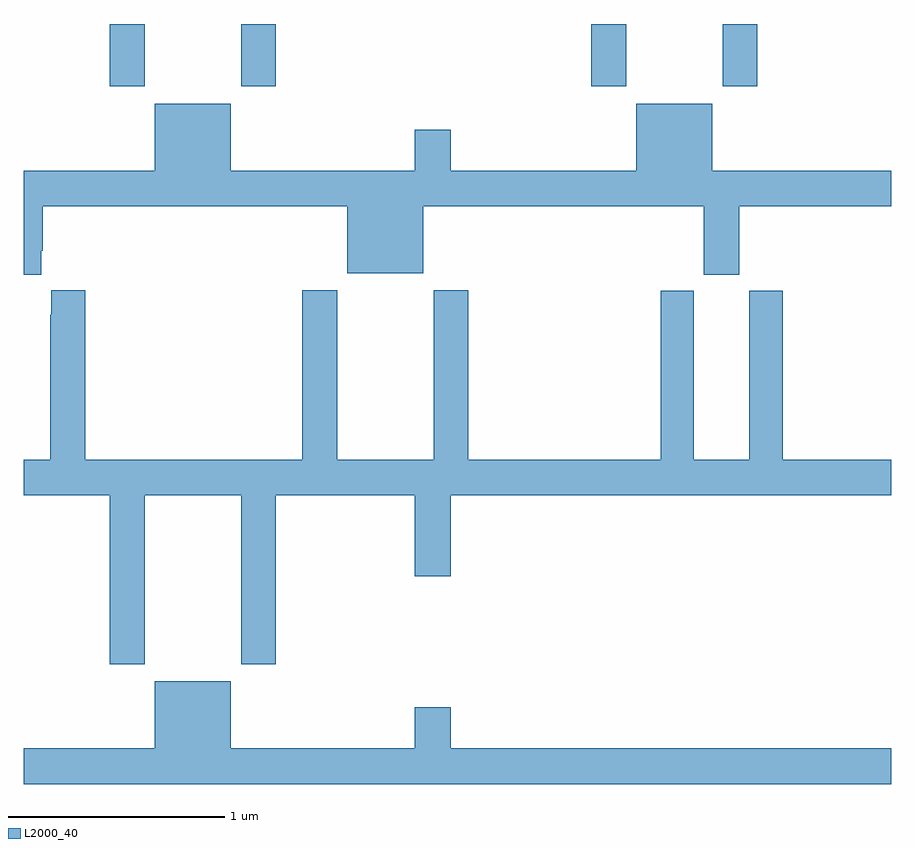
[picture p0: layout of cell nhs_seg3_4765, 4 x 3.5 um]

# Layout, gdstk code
import gdstk
lib = gdstk.Library(unit=1e-6, precision=1e-09)
def R(c, l, rs):  # rectangles x0, y0, x1, y1
    for r in rs: c.add(gdstk.rectangle(r[:2], r[2:], *l))
def P(c, l, *ps):  # polygons
    for p in ps: c.add(gdstk.Polygon(p, *l))
L2000_40 = (2000, 40)

nhs_seg3_4765 = lib.new_cell('nhs_seg3_4765')
R(nhs_seg3_4765, L2000_40, [(367.397,724.113,367.557,724.4), (368.002,724.113,368.162,724.4), (369.617,724.113,369.777,724.4), (370.222,724.113,370.382,724.4)])
P(nhs_seg3_4765, L2000_40, [(367.081,723.355),(367.088,723.355),(367.088,723.56),(368.492,723.56),(368.492,723.251),(368.842,723.251),(368.842,723.56),(370.136,723.56),(370.136,723.243),(370.3,723.243),(370.3,723.56),(371,723.56),(371,723.724),(370.174,723.724),(370.174,724.033),(369.824,724.033),(369.824,723.724),(368.968,723.724),(368.968,723.913),(368.804,723.913),(368.804,723.724),(367.954,723.724),(367.954,724.033),(367.604,724.033),(367.604,723.724),(367,723.724),(367,723.243),(367.081,723.243)],
  [(367.127,723.172),(367.127,723.059),(367.123,723.059),(367.123,722.392),(367,722.392),(367,722.228),(367.397,722.228),(367.397,721.449),(367.557,721.449),(367.557,722.228),(368.002,722.228),(368.002,721.449),(368.162,721.449),(368.162,722.228),(368.804,722.228),(368.804,721.854),(368.968,721.854),(368.968,722.228),(371,722.228),(371,722.392),(370.499,722.392),(370.499,723.171),(370.346,723.171),(370.346,722.392),(370.09,722.392),(370.09,723.171),(369.938,723.171),(369.938,722.392),(369.05,722.392),(369.05,723.172),(368.89,723.172),(368.89,722.392),(368.445,722.392),(368.445,723.172),(368.285,723.172),(368.285,722.392),(367.283,722.392),(367.283,723.172)],
  [(371,721.06),(368.968,721.06),(368.968,721.249),(368.804,721.249),(368.804,721.06),(367.954,721.06),(367.954,721.369),(367.604,721.369),(367.604,721.06),(367,721.06),(367,720.896),(371,720.896)])

lib.write_gds('nhs_seg3_4765.gds')
